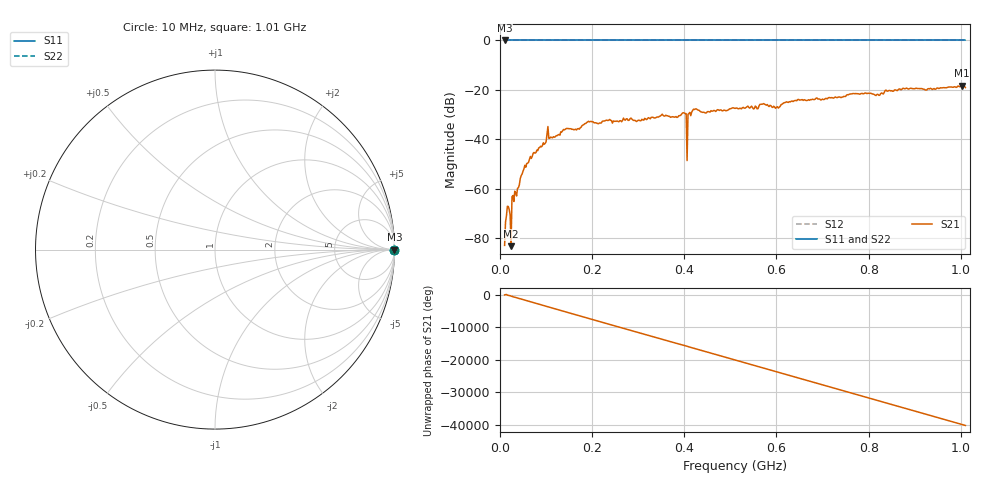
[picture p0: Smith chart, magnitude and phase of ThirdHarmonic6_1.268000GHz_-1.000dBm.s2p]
! 8/16/2025 1:41:55 PM
! C:\ANRITSUVNA\TEMP\TEMP.S2P
! CHANNEL.1
! TR.MEASUREMENT
! RAW.DATA
! RF.CORRECTION.OFF
! AVERAGING.OFF
! IF.BANDWIDTH: 5KHZ
! SWEEPTYPE:  FREQ.SWEEP(Linear)
! Reference Plane Port Info
! PORT:  PORT1  PORT2
! DISTANCE:  0  m  0  m
! TIME:  0  s  0  s
! PHASE.OFFSET:  0  deg.  0  deg.
! LOSS:  0  dB  0  dB
! REF.LOSS:  0  dB  0  dB
! REF.FREQ:  0  Hz  0  Hz
! Power Info
! POWER:  -20  dBm  -20  dBm
! EFF.POWER:  -20  dBm  -20  dBm
! SOURCE.ATTEN:  0  dB  0  dB
! TEST.ATTEN:  0  dB  0  dB
# GHZ S RI R 50.0
! FREQ.GHZ  S11RE  S11IM  S21RE  S21IM  S12RE  S12IM  S22RE  S22IM
!; PortSelection: Port_12
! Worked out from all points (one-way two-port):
!   501 points, 10 MHz to 1.01 GHz, reference 50 ohm
!   highest |S21| = -18.33 dB at 1.002 GHz (marker M1); lowest = -83.2 dB at 24 MHz (marker M2)
!   lowest |S11| = 0.0 dB at 10 MHz (marker M3)
!   |S11| at or under -10 dB: nowhere
!   |S22| runs from 0.0 to 0.0 dB; largest |S21 - S12| = 1.1
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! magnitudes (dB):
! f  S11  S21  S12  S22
! 10 MHz  0.0  -82.9  0.0  0.0
! 16 MHz  0.0  -67.1  0.0  0.0
! 24 MHz  0.0  -83.2  0.0  0.0
! 28 MHz  0.0  -62.8  0.0  0.0
! 30 MHz  0.0  -65.2  0.0  0.0
! 38 MHz  0.0  -59.9  0.0  0.0
! 50 MHz  0.0  -52.9  0.0  0.0
! 102 MHz  0.0  -38.0  0.0  0.0
! 178 MHz  0.0  -34.5  0.0  0.0
! 344 MHz  0.0  -31.0  0.0  0.0
! 400 MHz  0.0  -29.4  0.0  0.0
! 402 MHz  0.0  -29.6  0.0  0.0
! 410 MHz  0.0  -29.6  0.0  0.0
! 412 MHz  0.0  -29.1  0.0  0.0
! 422 MHz  0.0  -27.9  0.0  0.0
! 510 MHz  0.0  -27.5  0.0  0.0
! 570 MHz  0.0  -25.8  0.0  0.0
! 602 MHz  0.0  -26.8  0.0  0.0
! 678 MHz  0.0  -23.8  0.0  0.0
! 844 MHz  0.0  -20.3  0.0  0.0
! 1.002 GHz  0.0  -18.3  0.0  0.0
! 1.01 GHz  0.0  -19.1  0.0  0.0
